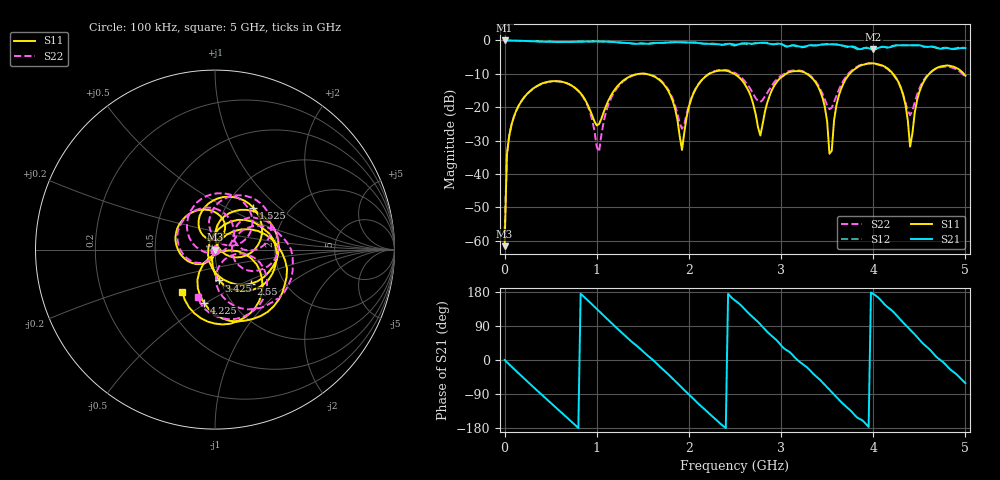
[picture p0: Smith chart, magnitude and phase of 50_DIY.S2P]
!Agilent Technologies,E5071C,MY46101917,A.08.10
!Date: Mon Jan 01 05:18:49 2001
!Data & Calibration Information:
!Freq	S11:SOLT2(ON)	S21:SOLT2(ON)	S12:SOLT2(ON)	S22:SOLT2(ON)
# Hz S MA R 50
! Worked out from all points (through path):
!   201 points, 100 kHz to 5 GHz, reference 50 ohm
!   highest |S21| = 0.00 dB at 100 kHz (marker M1); lowest = -2.7 dB at 4 GHz (marker M2)
!   group delay of S21, straight-line fit = 633 ps
!   lowest |S11| = -61.6 dB at 100 kHz (marker M3), VSWR 1.00, Z = 50.1 + j0.0406 ohm
!   |S11| at or under -10 dB: start of sweep to 1.46 GHz; 1.528 GHz to 2.221 GHz (693.1 MHz wide, 37 % of centre); 2.492 GHz to 3.052 GHz (560 MHz wide, 20.2 % of centre)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
!   |S22| runs from -57.8 to -6.8 dB; largest |S21 - S12| = 0.036
!   S11 on the Smith chart (normalised r, x): 100 kHz: 1.00, +0.00; 1.525 GHz: 1.34, +0.69; 2.55 GHz: 1.36, -0.56; 3.425 GHz: 0.99, -0.35; 4.225 GHz: 0.75, -0.49; 5 GHz: 0.63, -0.32
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100000  0.0008326 29.2  1 -0.0  0.9991 -0.1  0.001295 -95.5
2.50995e7  0.01969 -97.6  0.9985 -5.9  0.9984 -5.9  0.01922 -98.9
1.50097e8  0.1042 -131.2  0.9895 -34.7  0.9895 -34.7  0.1038 -134.2
4.750905e8  0.2415 149.9  0.9586 -107.6  0.957 -107.5  0.2397 140.4
8.50083e8  0.1458 67.3  0.9587 169.3  0.9595 169.3  0.1437 42.7
1.02508e9  0.0561 108.6  0.9672 129.0  0.966 128.9  0.02151 -108.3
1.52507e9  0.3167 47.5  0.8966 17.3  0.8938 17.5  0.3177 70.8
1.675066e9  0.2596 12.2  0.9182 -15.3  0.9186 -15.4  0.2654 38.4
1.925062e9  0.02295 38.9  0.9411 -73.4  0.9414 -73.4  0.04757 55.5
2.100058e9  0.2166 68.9  0.9147 -114.9  0.927 -114.9  0.2186 94.0
2.50005e9  0.3125 -29.5  0.8644 157.0  0.8389 157.6  0.3262 17.5
2.550049e9  0.2757 -43.7  0.8819 147.6  0.8874 147.7  0.2926 9.1
2.775044e9  0.0377 167.6  0.9225 94.0  0.9047 94.3  0.1199 25.1
3.350033e9  0.2614 -61.1  0.8469 -36.7  0.8385 -35.6  0.2688 -25.5
3.425032e9  0.1734 -82.3  0.8623 -52.9  0.8661 -52.6  0.187 -34.1
3.52503e9  0.02008 -117.2  0.8756 -78.3  0.8833 -78.3  0.09367 -4.8
4.00002e9  0.4546 -49.7  0.7367 174.4  0.7277 175.4  0.4535 -30.9
4.175016e9  0.3618 -90.0  0.7872 136.1  0.7929 137.6  0.3544 -66.9
4.225016e9  0.3029 -101.7  0.8254 125.3  0.8402 125.6  0.2973 -76.5
4.400012e9  0.0257 -95.4  0.8462 80.2  0.8473 80.0  0.07629 -47.5
4.575008e9  0.2796 -25.9  0.8012 35.9  0.8027 37.0  0.2876 -20.3
5e9  0.296 -127.8  0.7685 -61.1  0.7733 -61.0  0.2816 -109.5
